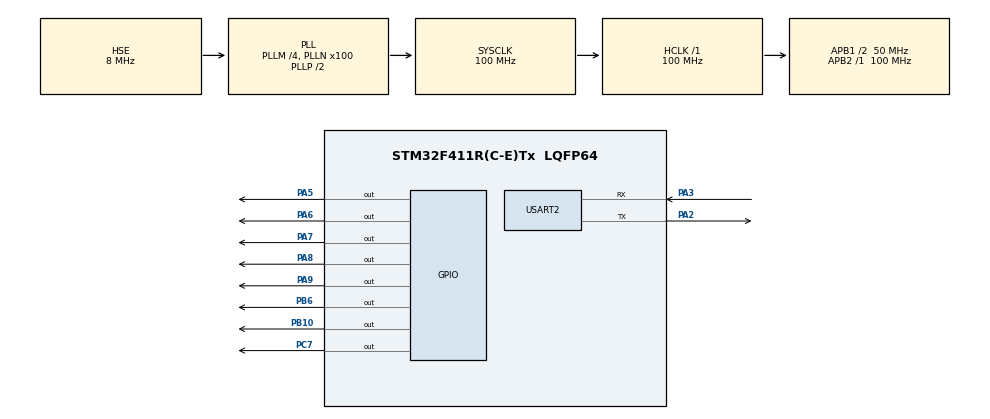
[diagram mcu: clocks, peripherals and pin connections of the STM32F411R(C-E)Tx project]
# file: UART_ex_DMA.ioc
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Dma.Request0=USART2_RX
Dma.USART2_RX.0.Direction=DMA_PERIPH_TO_MEMORY
Dma.USART2_RX.0.FIFOMode=DMA_FIFOMODE_DISABLE
Dma.USART2_RX.0.Instance=DMA1_Stream5
Dma.USART2_RX.0.MemDataAlignment=DMA_MDATAALIGN_BYTE
Dma.USART2_RX.0.MemInc=DMA_MINC_ENABLE
Dma.USART2_RX.0.Mode=DMA_NORMAL
Dma.USART2_RX.0.PeriphDataAlignment=DMA_PDATAALIGN_BYTE
Dma.USART2_RX.0.PeriphInc=DMA_PINC_DISABLE
Dma.USART2_RX.0.Priority=DMA_PRIORITY_LOW
Mcu.Family=STM32F4
Mcu.Name=STM32F411R(C-E)Tx
Mcu.Package=LQFP64
NVIC.DMA1_Stream5_IRQn=true\:0\:0\:false\:false\:true\:false\:true\:true
NVIC.PriorityGroup=NVIC_PRIORITYGROUP_4
PA13.Mode=Serial_Wire
PA13.Signal=SYS_JTMS-SWDIO
PA14.Mode=Serial_Wire
PA14.Signal=SYS_JTCK-SWCLK
PA2.Mode=Asynchronous
PA2.Signal=USART2_TX
PA3.Mode=Asynchronous
PA3.Signal=USART2_RX
PA5.Signal=GPIO_Output
PA6.Signal=GPIO_Output
PA7.Signal=GPIO_Output
PA8.Signal=GPIO_Output
PA9.Signal=GPIO_Output
PB10.Signal=GPIO_Output
PB6.Signal=GPIO_Output
PC7.Signal=GPIO_Output
PH0\ -\ OSC_IN.Mode=HSE-External-Oscillator
PH0\ -\ OSC_IN.Signal=RCC_OSC_IN
PH1\ -\ OSC_OUT.Mode=HSE-External-Oscillator
PH1\ -\ OSC_OUT.Signal=RCC_OSC_OUT
ProjectManager.HeapSize=0x200
ProjectManager.StackSize=0x400
ProjectManager.TargetToolchain=STM32CubeIDE
RCC.48MHZClocksFreq_Value=50000000
RCC.AHBFreq_Value=100000000
RCC.APB1CLKDivider=RCC_HCLK_DIV2
RCC.APB1Freq_Value=50000000
RCC.APB1TimFreq_Value=100000000
RCC.APB2Freq_Value=100000000
RCC.APB2TimFreq_Value=100000000
RCC.CortexFreq_Value=100000000
RCC.HCLKFreq_Value=100000000
RCC.HSE_VALUE=8000000
RCC.HSI_VALUE=16000000
RCC.LSE_VALUE=32768
RCC.PLLM=4
RCC.PLLN=100
RCC.PLLSourceVirtual=RCC_PLLSOURCE_HSE
RCC.SYSCLKFreq_VALUE=100000000
RCC.SYSCLKSource=RCC_SYSCLKSOURCE_PLLCLK
RCC.VCOOutputFreq_Value=200000000
USART2.VirtualMode=VM_ASYNC
board=custom

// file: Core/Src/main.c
/* USER CODE BEGIN Header */
/**
  ******************************************************************************
  * @file           : main.c
  * @brief          : Main program body
  ******************************************************************************
  * @attention
  *
  * Copyright (c) 2023 STMicroelectronics.
  * All rights reserved.
  *
  * This software is licensed under terms that can be found in the LICENSE file
  * in the root directory of this software component.
  * If no LICENSE file comes with this software, it is provided AS-IS.
  *
  ******************************************************************************
  */
/* USER CODE END Header */
#include "main.h"
#include "dma.h"
#include "usart.h"
#include "gpio.h"

/* USER CODE BEGIN Includes */
#include <stdbool.h>
/* USER CODE END Includes */

/* USER CODE BEGIN PV */
uint8_t rxData[1];
uint8_t led_data = 0;

GPIO_TypeDef *led_GPIOx[8] = {
        GPIOA, GPIOA, GPIOA, GPIOB, GPIOC, GPIOA, GPIOA, GPIOB
};
uint16_t led_GPIO_PinState[8] = {
        GPIO_PIN_5, GPIO_PIN_6, GPIO_PIN_7, GPIO_PIN_6,
        GPIO_PIN_7, GPIO_PIN_9, GPIO_PIN_8, GPIO_PIN_10
};
/* USER CODE END PV */

void SystemClock_Config(void);
/* USER CODE BEGIN PFP */
void HAL_UART_RxCpltCallback(UART_HandleTypeDef *);
/* USER CODE END PFP */

int main(void)
{

  /* MCU Configuration--------------------------------------------------------*/

  /* Reset of all peripherals, Initializes the Flash interface and the Systick. */
  HAL_Init();

  /* Configure the system clock */
  SystemClock_Config();

  /* Initialize all configured peripherals */
  MX_GPIO_Init();
  MX_DMA_Init();
  MX_USART2_UART_Init();
  /* USER CODE BEGIN 2 */
  HAL_UART_Receive_DMA(&huart2, rxData, 1);
  /* USER CODE END 2 */

  /* Infinite loop */
  while (1)
  {

  }
}

void SystemClock_Config(void)
{
  RCC_OscInitTypeDef RCC_OscInitStruct = {0};
  RCC_ClkInitTypeDef RCC_ClkInitStruct = {0};

  /** Configure the main internal regulator output voltage
  */
  __HAL_RCC_PWR_CLK_ENABLE();
  __HAL_PWR_VOLTAGESCALING_CONFIG(PWR_REGULATOR_VOLTAGE_SCALE1);

  /** Initializes the RCC Oscillators according to the specified parameters
  * in the RCC_OscInitTypeDef structure.
  */
  RCC_OscInitStruct.OscillatorType = RCC_OSCILLATORTYPE_HSE;
  RCC_OscInitStruct.HSEState = RCC_HSE_ON;
  RCC_OscInitStruct.PLL.PLLState = RCC_PLL_ON;
  RCC_OscInitStruct.PLL.PLLSource = RCC_PLLSOURCE_HSE;
  RCC_OscInitStruct.PLL.PLLM = 4;
  RCC_OscInitStruct.PLL.PLLN = 100;
  RCC_OscInitStruct.PLL.PLLP = RCC_PLLP_DIV2;
  RCC_OscInitStruct.PLL.PLLQ = 4;
  if (HAL_RCC_OscConfig(&RCC_OscInitStruct) != HAL_OK)
  {
    Error_Handler();
  }

  /** Initializes the CPU, AHB and APB buses clocks
  */
  RCC_ClkInitStruct.ClockType = RCC_CLOCKTYPE_HCLK|RCC_CLOCKTYPE_SYSCLK
                              |RCC_CLOCKTYPE_PCLK1|RCC_CLOCKTYPE_PCLK2;
  RCC_ClkInitStruct.SYSCLKSource = RCC_SYSCLKSOURCE_PLLCLK;
  RCC_ClkInitStruct.AHBCLKDivider = RCC_SYSCLK_DIV1;
  RCC_ClkInitStruct.APB1CLKDivider = RCC_HCLK_DIV2;
  RCC_ClkInitStruct.APB2CLKDivider = RCC_HCLK_DIV1;

  if (HAL_RCC_ClockConfig(&RCC_ClkInitStruct, FLASH_LATENCY_3) != HAL_OK)
  {
    Error_Handler();
  }
}

/* USER CODE BEGIN 4 */
void HAL_UART_RxCpltCallback(UART_HandleTypeDef *huart) {
    bool is_cmd = true;

    switch (rxData[0]) {
        case 'a':
            led_data = 0x00;
            break;
        case 'b':
            led_data |= 0x01;
            break;
        case 'c':
            led_data = ~led_data;
            break;
        case 'd':
            led_data = led_data << 1 | led_data >> 7;
            break;
        case 'e':
            led_data = led_data >> 1 | led_data << 7;
            break;
        default:
            is_cmd = false;
            break;
    }

    if (is_cmd) {
        for (int8_t i = 0; i < 8; i++) {
            HAL_GPIO_WritePin(led_GPIOx[i], led_GPIO_PinState[i], led_data & 1 << i);
        }
    }

    HAL_UART_Receive_DMA(huart, rxData, 1);
}
/* USER CODE END 4 */

void Error_Handler(void)
{
  __disable_irq();
  while (1)
  {
  }
}
